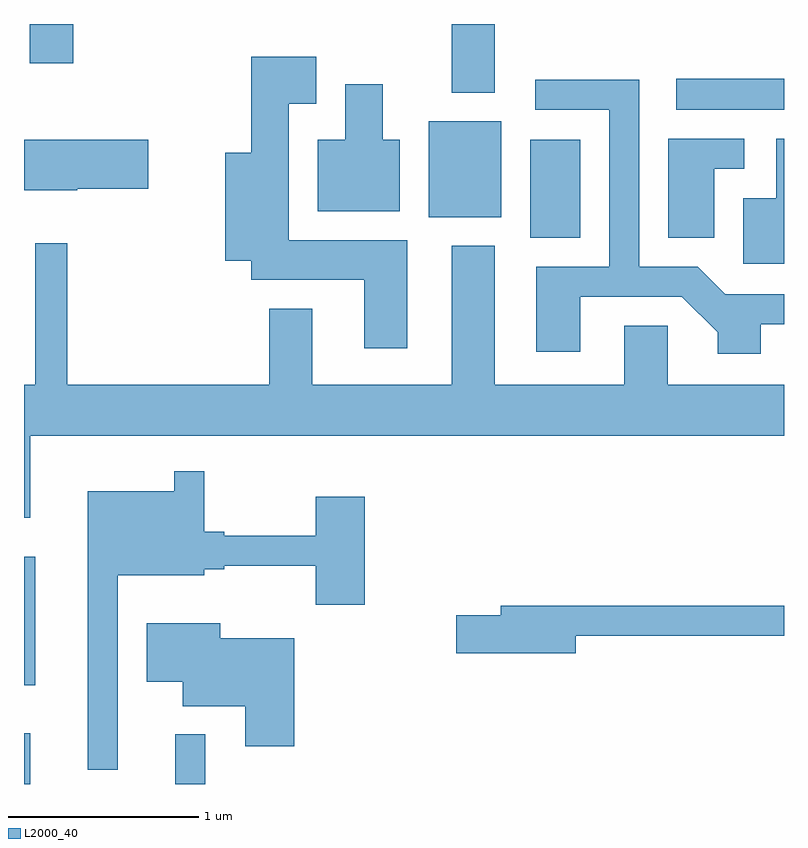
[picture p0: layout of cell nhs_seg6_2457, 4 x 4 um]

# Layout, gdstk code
import gdstk
lib = gdstk.Library(unit=1e-6, precision=1e-09)
def R(c, l, rs):  # rectangles x0, y0, x1, y1
    for r in rs: c.add(gdstk.rectangle(r[:2], r[2:], *l))
def P(c, l, *ps):  # polygons
    for p in ps: c.add(gdstk.Polygon(p, *l))
L2000_40 = (2000, 40)

nhs_seg6_2457 = lib.new_cell('nhs_seg6_2457')
R(nhs_seg6_2457, L2000_40, [(259.611,1588.162,259.644,1588.428), (260.406,1588.162,260.564,1588.423), (259.611,1588.681,259.669,1589.359), (262.276,1591.036,262.539,1591.554), (261.741,1591.146,262.124,1591.649), (263.043,1591.711,263.611,1591.874), (261.861,1591.801,262.089,1592.162), (259.641,1591.956,259.869,1592.162)])
P(nhs_seg6_2457, L2000_40, [(261.629,1591.024),(261.004,1591.024),(261.004,1591.741),(261.149,1591.741),(261.149,1591.989),(260.806,1591.989),(260.806,1591.484),(260.671,1591.484),(260.671,1590.916),(260.806,1590.916),(260.806,1590.816),(261.401,1590.816),(261.401,1590.456),(261.629,1590.456)],
  [(263.489,1590.581),(263.611,1590.581),(263.611,1590.739),(263.302,1590.739),(263.157,1590.884),(262.849,1590.884),(262.849,1591.869),(262.303,1591.869),(262.303,1591.711),(262.691,1591.711),(262.691,1590.884),(262.306,1590.884),(262.306,1590.436),(262.539,1590.436),(262.539,1590.726),(263.074,1590.726),(263.261,1590.539),(263.261,1590.426),(263.489,1590.426)],
  [(261.589,1591.554),(261.499,1591.554),(261.499,1591.844),(261.301,1591.844),(261.301,1591.554),(261.156,1591.554),(261.156,1591.176),(261.589,1591.176)],
  [(263.244,1591.401),(263.403,1591.401),(263.403,1591.559),(263.001,1591.559),(263.001,1591.036),(263.244,1591.036)],
  [(263.611,1591.559),(263.571,1591.559),(263.571,1591.244),(263.396,1591.244),(263.396,1590.901),(263.611,1590.901)],
  [(259.89,1591.296),(260.264,1591.296),(260.264,1591.554),(259.611,1591.554),(259.611,1591.286),(259.89,1591.286)],
  [(259.644,1589.996),(263.611,1589.996),(263.611,1590.264),(262.999,1590.264),(262.999,1590.574),(262.771,1590.574),(262.771,1590.264),(262.089,1590.264),(262.089,1590.994),(261.861,1590.994),(261.861,1590.264),(261.129,1590.264),(261.129,1590.664),(260.901,1590.664),(260.901,1590.264),(259.839,1590.264),(259.839,1591.008),(259.671,1591.008),(259.671,1590.264),(259.611,1590.264),(259.611,1589.563),(259.644,1589.563)],
  [(260.104,1589.261),(260.559,1589.261),(260.559,1589.291),(260.664,1589.291),(260.664,1589.311),(261.146,1589.311),(261.146,1589.106),(261.404,1589.106),(261.404,1589.674),(261.146,1589.674),(261.146,1589.469),(260.664,1589.469),(260.664,1589.489),(260.559,1589.489),(260.559,1589.808),(260.401,1589.808),(260.401,1589.704),(259.946,1589.704),(259.946,1588.238),(260.104,1588.238)],
  [(262.514,1588.941),(263.611,1588.941),(263.611,1589.099),(262.121,1589.099),(262.121,1589.049),(261.886,1589.049),(261.886,1588.851),(262.514,1588.851)],
  [(261.034,1588.929),(260.644,1588.929),(260.644,1589.009),(260.256,1589.009),(260.256,1588.701),(260.446,1588.701),(260.446,1588.571),(260.776,1588.571),(260.776,1588.361),(261.034,1588.361)])

lib.write_gds('nhs_seg6_2457.gds')
